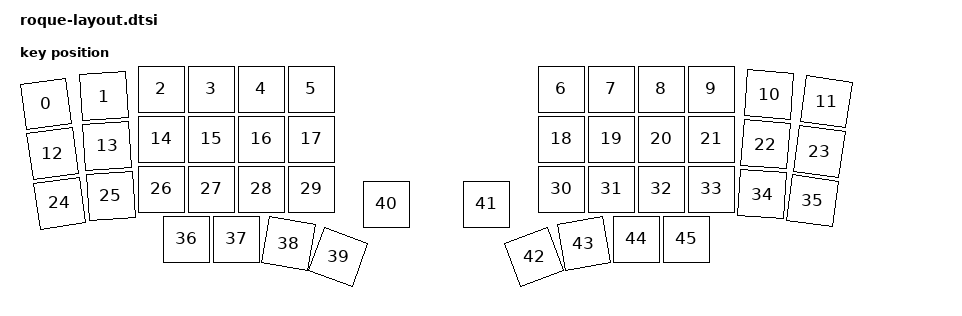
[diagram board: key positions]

#include <physical_layouts.dtsi>
#include "position_map.dtsi"

/ {
    roque_layout: roque_layout {
        compatible = "zmk,physical-layout";
        display-name = "Roque";

        keys  //                     w   h    x    y     rot    rx    ry
            = <&key_physical_attrs 100 100    0    0  (-800)   285   285>
            , <&key_physical_attrs 100 100  100    5  (-400)   350   275>
            , <&key_physical_attrs 100 100  200    5       0     0     0>
            , <&key_physical_attrs 100 100  300    5       0     0     0>
            , <&key_physical_attrs 100 100  400    5       0     0     0>
            , <&key_physical_attrs 100 100  500    5       0     0     0>
            , <&key_physical_attrs 100 100 1000    5       0     0     0>
            , <&key_physical_attrs 100 100 1100    5       0     0     0>
            , <&key_physical_attrs 100 100 1200    5       0     0     0>
            , <&key_physical_attrs 100 100 1300    5       0     0     0>
            , <&key_physical_attrs 100 100 1400    5     400  1300   285>
            , <&key_physical_attrs 100 100 1500    5     800  1380   285>
            , <&key_physical_attrs 100 100    0  100  (-800)   285   285>
            , <&key_physical_attrs 100 100  100  105  (-400)   350   275>
            , <&key_physical_attrs 100 100  200  105       0     0     0>
            , <&key_physical_attrs 100 100  300  105       0     0     0>
            , <&key_physical_attrs 100 100  400  105       0     0     0>
            , <&key_physical_attrs 100 100  500  105       0     0     0>
            , <&key_physical_attrs 100 100 1000  105       0     0     0>
            , <&key_physical_attrs 100 100 1100  105       0     0     0>
            , <&key_physical_attrs 100 100 1200  105       0     0     0>
            , <&key_physical_attrs 100 100 1300  105       0     0     0>
            , <&key_physical_attrs 100 100 1400  105     400  1300   285>
            , <&key_physical_attrs 100 100 1500  105     800  1380   285>
            , <&key_physical_attrs 100 100    0  200  (-800)   285   285>
            , <&key_physical_attrs 100 100  100  205  (-400)   350   275>
            , <&key_physical_attrs 100 100  200  205       0     0     0>
            , <&key_physical_attrs 100 100  300  205       0     0     0>
            , <&key_physical_attrs 100 100  400  205       0     0     0>
            , <&key_physical_attrs 100 100  500  205       0     0     0>
            , <&key_physical_attrs 100 100 1000  205       0     0     0>
            , <&key_physical_attrs 100 100 1100  205       0     0     0>
            , <&key_physical_attrs 100 100 1200  205       0     0     0>
            , <&key_physical_attrs 100 100 1300  205       0     0     0>
            , <&key_physical_attrs 100 100 1400  205     400  1300   285>
            , <&key_physical_attrs 100 100 1500  205     800  1380   285>
            , <&key_physical_attrs 100 100  250  305       0     0     0>
            , <&key_physical_attrs 100 100  350  305       0     0     0>
            , <&key_physical_attrs 100 100  450  305    1000   450   385>
            , <&key_physical_attrs 100 100  550  305    2000   500   385>
            , <&key_physical_attrs 100 100  650  235       0     0     0>
            , <&key_physical_attrs 100 100  850  235       0     0     0>
            , <&key_physical_attrs 100 100  950  305 (-2000)  1100   385>
            , <&key_physical_attrs 100 100 1050  305 (-1000)  1150   385>
            , <&key_physical_attrs 100 100 1150  305       0     0     0>
            , <&key_physical_attrs 100 100 1250  305       0     0     0>
            ;
    };
};
&layout_roque_position_map  {
    layout_roque_map: layout_roque {
        physical-layout = <&roque_layout>;
        positions
            = < 0  1  2  3  4  5         6  7  8  9 10 11>
            , <12 13 14 15 16 17        18 19 20 21 22 23>
            , <24 25 26 27 28 29 40  41 30 31 32 33 34 35>
            , <         36 37 38 39  42 43 44 45      >;
    };

};
